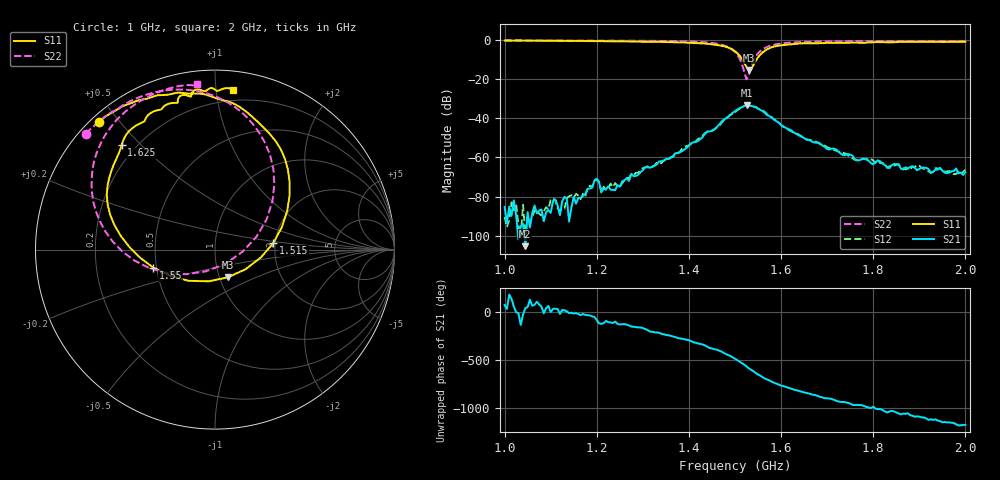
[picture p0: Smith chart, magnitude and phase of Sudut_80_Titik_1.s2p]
# Hz S RI R 50
! CMT, C1220, 16058040, 17.2.0/1
! Date: 14/08/2018 12:54:52
! Data: Format (Calibration Info)
! Freq  S11: Re/Im (F2)  S21: Re/Im (F2)  S12: Re/Im (F2)  S22: Re/Im (F2)
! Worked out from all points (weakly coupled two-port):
!   201 points, 1 GHz to 2 GHz, reference 50 ohm
!   highest |S21| = -33.22 dB at 1.525 GHz (marker M1); lowest = -105.3 dB at 1.045 GHz (marker M2)
!   lowest |S11| = -15.4 dB at 1.53 GHz (marker M3), VSWR 1.41, Z = 54.9 - j17.5 ohm
!   |S11| at or under -10 dB: 1.516 GHz to 1.547 GHz (31.28 MHz wide, 2.04 % of centre)
!   |S22| runs from -20.1 to -0.3 dB; largest |S21 - S12| = 0.00093
!   S11 on the Smith chart (normalised r, x): 1 GHz: 0.02, +0.44; 1.515 GHz: 1.95, +0.16; 1.55 GHz: 0.48, -0.11; 1.625 GHz: 0.15, +0.44; 2 GHz: 0.12, +1.11
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1e9  -0.6461 0.7133  1.99e-05 5.11e-05  -2.8e-05 1.13e-05  -0.7192 0.6455
1.045e9  -0.6036 0.7463  4.35e-06 3.29e-06  -1.11e-05 -2.81e-06  -0.6863 0.678
1.17e9  -0.4538 0.8216  9.49e-05 -4.27e-05  6.46e-05 -9.88e-05  -0.5769 0.7653
1.175e9  -0.4466 0.8245  9.81e-05 -6.31e-05  7.46e-05 -6.8e-05  -0.5712 0.7683
1.2e9  -0.4088 0.8354  2.43e-05 -0.000286  3.94e-05 -0.000272  -0.5431 0.7774
1.21e9  -0.3951 0.8376  -7.73e-05 -0.000108  -0.000111 -6.11e-05  -0.5384 0.7811
1.24e9  -0.3451 0.852  -3.07e-05 -0.000143  -0.000118 -0.00019  -0.5079 0.8073
1.25e9  -0.3297 0.8575  -0.000121 -0.000133  -7.48e-05 -0.000161  -0.4951 0.8148
1.275e9  -0.2887 0.861  -0.000342 -0.000169  -0.00031 -0.000209  -0.4605 0.8325
1.335e9  -0.1743 0.8714  -0.000633 0.000466  -0.000544 0.0005  -0.36 0.8696
1.45e9  0.2049 0.7422  0.00443 -0.00169  0.00442 -0.00197  0.0458 0.8335
1.5e9  0.4153 0.2998  -0.00894 -0.0122  -0.00838 -0.0115  0.3306 0.3629
1.515e9  0.3252 0.0375  -0.019 -0.00284  -0.0191 -0.0034  0.2322 0.0731
1.525e9  0.1721 -0.1084  -0.0197 0.00943  -0.02 0.00938  0.0613 -0.077
1.53e9  0.0722 -0.1545  -0.015 0.0149  -0.0152 0.015  -0.0481 -0.1206
1.55e9  -0.3428 -0.1009  0.00577 0.0166  0.0051 0.0168  -0.4508 -0.0597
1.58e9  -0.5983 0.2521  0.0102 -0.000732  0.0106 -0.00118  -0.6776 0.2652
1.625e9  -0.5206 0.5806  0.000728 -0.00455  0.000842 -0.00434  -0.6498 0.5622
1.67e9  -0.4027 0.7095  -0.00181 -0.00164  -0.00197 -0.00172  -0.5663 0.701
1.835e9  -0.1347 0.8524  0.000356 0.000399  0.000376 0.000461  -0.3155 0.8778
1.975e9  0.0624 0.8994  0.000145 -0.000428  9.81e-05 -0.000361  -0.1252 0.9154
2e9  0.0995 0.8904  3.59e-06 -0.000421  -2.9e-05 -0.000492  -0.0979 0.9222
